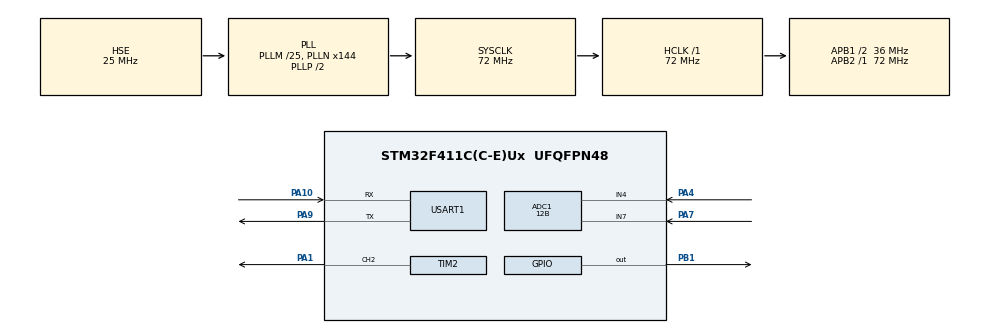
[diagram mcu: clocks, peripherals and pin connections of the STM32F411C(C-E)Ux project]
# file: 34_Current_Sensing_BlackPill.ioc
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ADC1.Channel-0\#ChannelRegularConversion=ADC_CHANNEL_7
ADC1.Channel-2\#ChannelInjectedConversion=ADC_CHANNEL_4
ADC1.ContinuousConvMode=ENABLE
ADC1.ExternalTrigInjecConv=ADC_EXTERNALTRIGINJECCONV_T2_TRGO
ADC1.InjNumberOfConversion=1
ADC1.InjectedConvMode=Discontinuous
ADC1.InjectedOffset-2\#ChannelInjectedConversion=0
ADC1.InjectedRank-2\#ChannelInjectedConversion=1
ADC1.NbrOfConversionFlag=1
ADC1.Rank-0\#ChannelRegularConversion=1
ADC1.Resolution=ADC_RESOLUTION_12B
ADC1.SamplingTime-0\#ChannelRegularConversion=ADC_SAMPLETIME_3CYCLES
ADC1.SamplingTime-2\#ChannelInjectedConversion=ADC_SAMPLETIME_3CYCLES
ADC1.master=1
Mcu.Family=STM32F4
Mcu.Name=STM32F411C(C-E)Ux
Mcu.Package=UFQFPN48
NVIC.ADC_IRQn=true\:0\:0\:false\:false\:true\:true\:true\:true
NVIC.PriorityGroup=NVIC_PRIORITYGROUP_4
PA1.Signal=S_TIM2_CH2
PA10.Mode=Asynchronous
PA10.Signal=USART1_RX
PA4.Signal=ADCx_IN4
PA7.Signal=ADCx_IN7
PA9.Mode=Asynchronous
PA9.Signal=USART1_TX
PB1.Signal=GPIO_Output
PH0\ -\ OSC_IN.Mode=HSE-External-Oscillator
PH0\ -\ OSC_IN.Signal=RCC_OSC_IN
PH1\ -\ OSC_OUT.Mode=HSE-External-Oscillator
PH1\ -\ OSC_OUT.Signal=RCC_OSC_OUT
ProjectManager.HeapSize=0x200
ProjectManager.StackSize=0x400
ProjectManager.TargetToolchain=STM32CubeIDE
RCC.48MHZClocksFreq_Value=36000000
RCC.AHBFreq_Value=72000000
RCC.APB1CLKDivider=RCC_HCLK_DIV2
RCC.APB1Freq_Value=36000000
RCC.APB1TimFreq_Value=72000000
RCC.APB2Freq_Value=72000000
RCC.APB2TimFreq_Value=72000000
RCC.CortexFreq_Value=72000000
RCC.HCLKFreq_Value=72000000
RCC.HSE_VALUE=25000000
RCC.HSI_VALUE=16000000
RCC.LSE_VALUE=32768
RCC.PLLM=25
RCC.PLLN=144
RCC.PLLSourceVirtual=RCC_PLLSOURCE_HSE
RCC.SYSCLKFreq_VALUE=72000000
RCC.SYSCLKSource=RCC_SYSCLKSOURCE_PLLCLK
RCC.VCOOutputFreq_Value=144000000
SH.ADCx_IN4.0=ADC1_IN4,IN4
SH.ADCx_IN7.0=ADC1_IN7,IN7
SH.S_TIM2_CH2.0=TIM2_CH2,PWM Generation2 CH2
TIM2.Channel-Output\ Compare1\ No\ Output=TIM_CHANNEL_1
TIM2.Channel-PWM\ Generation2\ CH2=TIM_CHANNEL_2
TIM2.CounterMode=TIM_COUNTERMODE_CENTERALIGNED1
TIM2.Period=4095
TIM2.TIM_MasterOutputTrigger=TIM_TRGO_OC1
USART1.VirtualMode=VM_ASYNC
VP_TIM2_VS_no_output1.Mode=Output Compare1 No Output
board=custom

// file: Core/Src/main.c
/* USER CODE BEGIN Header */
/**
  ******************************************************************************
  * @file           : main.c
  * @brief          : Main program body
  ******************************************************************************
  * @attention
  *
  * Copyright (c) 2025 STMicroelectronics.
  * All rights reserved.
  *
  * This software is licensed under terms that can be found in the LICENSE file
  * in the root directory of this software component.
  * If no LICENSE file comes with this software, it is provided AS-IS.
  *
  ******************************************************************************
  */
/* USER CODE END Header */
#include "main.h"

/* USER CODE BEGIN Includes */

#include <stdio.h>

/* USER CODE END Includes */

ADC_HandleTypeDef hadc1;

TIM_HandleTypeDef htim2;

UART_HandleTypeDef huart1;

/* USER CODE BEGIN PV */

char UART1_TxBuffer[30];
volatile uint16_t InjADC_Reading = 0;
uint16_t AD_RES = 0;
float I_dc = 0.0;

/* USER CODE END PV */

void SystemClock_Config(void);
static void MX_GPIO_Init(void);
static void MX_ADC1_Init(void);
static void MX_USART1_UART_Init(void);
static void MX_TIM2_Init(void);

int main(void)
{

  /* MCU Configuration--------------------------------------------------------*/

  /* Reset of all peripherals, Initializes the Flash interface and the Systick. */
  HAL_Init();

  /* Configure the system clock */
  SystemClock_Config();

  /* Initialize all configured peripherals */
  MX_GPIO_Init();
  MX_ADC1_Init();
  MX_USART1_UART_Init();
  MX_TIM2_Init();
  /* USER CODE BEGIN 2 */

	HAL_TIM_PWM_Start(&htim2, TIM_CHANNEL_2); // Start PWM: TIM2 (CH2)
	HAL_TIM_OC_Start(&htim2, TIM_CHANNEL_1);  // Start Output Compare (CH1)
	TIM2->CCR1 = 1; // Set The OC1 Trigger Point To The Middle of The PWM Waveform
	HAL_ADC_Start(&hadc1); // Start ADC Conversion (Regular Channel, Continuous Mode, Polling)
	HAL_ADCEx_InjectedStart_IT(&hadc1); // Start ADC Conversion (Injected Channel, Tim2-PWM-Triggered, Interrupt Mode)

  /* USER CODE END 2 */

  /* Infinite loop */
  /* USER CODE BEGIN WHILE */
  while (1)
  {
		HAL_ADC_PollForConversion(&hadc1, 1); // Poll ADC1 Peripheral & TimeOut = 1mSec
		AD_RES = HAL_ADC_GetValue(&hadc1); // Read The ADC Regular Channel (CH7)
		TIM2->CCR2 = AD_RES; // Update PWM DutyCycle Using ADC Value (Potentiometer On CH7)
		I_dc = ((InjADC_Reading*3.30)/4.095); // Convert The Injected ADC Channel Reading To I_dc
		sprintf(UART1_TxBuffer, "I_dc = %f mA\r\n", I_dc); // Print The Current Measurement To Serial Port
		HAL_UART_Transmit(&huart1, (uint8_t*)UART1_TxBuffer, sizeof(UART1_TxBuffer), 10);
		HAL_Delay(1);

    /* USER CODE END WHILE */

  }
}

void SystemClock_Config(void)
{
  RCC_OscInitTypeDef RCC_OscInitStruct = {0};
  RCC_ClkInitTypeDef RCC_ClkInitStruct = {0};

  /** Configure the main internal regulator output voltage
  */
  __HAL_RCC_PWR_CLK_ENABLE();
  __HAL_PWR_VOLTAGESCALING_CONFIG(PWR_REGULATOR_VOLTAGE_SCALE1);

  /** Initializes the RCC Oscillators according to the specified parameters
  * in the RCC_OscInitTypeDef structure.
  */
  RCC_OscInitStruct.OscillatorType = RCC_OSCILLATORTYPE_HSE;
  RCC_OscInitStruct.HSEState = RCC_HSE_ON;
  RCC_OscInitStruct.PLL.PLLState = RCC_PLL_ON;
  RCC_OscInitStruct.PLL.PLLSource = RCC_PLLSOURCE_HSE;
  RCC_OscInitStruct.PLL.PLLM = 25;
  RCC_OscInitStruct.PLL.PLLN = 144;
  RCC_OscInitStruct.PLL.PLLP = RCC_PLLP_DIV2;
  RCC_OscInitStruct.PLL.PLLQ = 4;
  if (HAL_RCC_OscConfig(&RCC_OscInitStruct) != HAL_OK)
  {
    Error_Handler();
  }

  /** Initializes the CPU, AHB and APB buses clocks
  */
  RCC_ClkInitStruct.ClockType = RCC_CLOCKTYPE_HCLK|RCC_CLOCKTYPE_SYSCLK
                              |RCC_CLOCKTYPE_PCLK1|RCC_CLOCKTYPE_PCLK2;
  RCC_ClkInitStruct.SYSCLKSource = RCC_SYSCLKSOURCE_PLLCLK;
  RCC_ClkInitStruct.AHBCLKDivider = RCC_SYSCLK_DIV1;
  RCC_ClkInitStruct.APB1CLKDivider = RCC_HCLK_DIV2;
  RCC_ClkInitStruct.APB2CLKDivider = RCC_HCLK_DIV1;

  if (HAL_RCC_ClockConfig(&RCC_ClkInitStruct, FLASH_LATENCY_2) != HAL_OK)
  {
    Error_Handler();
  }
}

static void MX_ADC1_Init(void)
{

  ADC_ChannelConfTypeDef sConfig = {0};
  ADC_InjectionConfTypeDef sConfigInjected = {0};

  /** Configure the global features of the ADC (Clock, Resolution, Data Alignment and number of conversion)
  */
  hadc1.Instance = ADC1;
  hadc1.Init.ClockPrescaler = ADC_CLOCK_SYNC_PCLK_DIV2;
  hadc1.Init.Resolution = ADC_RESOLUTION_12B;
  hadc1.Init.ScanConvMode = DISABLE;
  hadc1.Init.ContinuousConvMode = ENABLE;
  hadc1.Init.DiscontinuousConvMode = DISABLE;
  hadc1.Init.ExternalTrigConvEdge = ADC_EXTERNALTRIGCONVEDGE_NONE;
  hadc1.Init.ExternalTrigConv = ADC_SOFTWARE_START;
  hadc1.Init.DataAlign = ADC_DATAALIGN_RIGHT;
  hadc1.Init.NbrOfConversion = 1;
  hadc1.Init.DMAContinuousRequests = DISABLE;
  hadc1.Init.EOCSelection = ADC_EOC_SINGLE_CONV;
  if (HAL_ADC_Init(&hadc1) != HAL_OK)
  {
    Error_Handler();
  }

  /** Configure for the selected ADC regular channel its corresponding rank in the sequencer and its sample time.
  */
  sConfig.Channel = ADC_CHANNEL_7;
  sConfig.Rank = 1;
  sConfig.SamplingTime = ADC_SAMPLETIME_3CYCLES;
  if (HAL_ADC_ConfigChannel(&hadc1, &sConfig) != HAL_OK)
  {
    Error_Handler();
  }

  /** Configures for the selected ADC injected channel its corresponding rank in the sequencer and its sample time
  */
  sConfigInjected.InjectedChannel = ADC_CHANNEL_4;
  sConfigInjected.InjectedRank = 1;
  sConfigInjected.InjectedNbrOfConversion = 1;
  sConfigInjected.InjectedSamplingTime = ADC_SAMPLETIME_3CYCLES;
  sConfigInjected.ExternalTrigInjecConvEdge = ADC_EXTERNALTRIGINJECCONVEDGE_RISING;
  sConfigInjected.ExternalTrigInjecConv = ADC_EXTERNALTRIGINJECCONV_T2_TRGO;
  sConfigInjected.AutoInjectedConv = DISABLE;
  sConfigInjected.InjectedDiscontinuousConvMode = ENABLE;
  sConfigInjected.InjectedOffset = 0;
  if (HAL_ADCEx_InjectedConfigChannel(&hadc1, &sConfigInjected) != HAL_OK)
  {
    Error_Handler();
  }

}

static void MX_TIM2_Init(void)
{

  TIM_MasterConfigTypeDef sMasterConfig = {0};
  TIM_OC_InitTypeDef sConfigOC = {0};

  htim2.Instance = TIM2;
  htim2.Init.Prescaler = 0;
  htim2.Init.CounterMode = TIM_COUNTERMODE_CENTERALIGNED1;
  htim2.Init.Period = 4095;
  htim2.Init.ClockDivision = TIM_CLOCKDIVISION_DIV1;
  htim2.Init.AutoReloadPreload = TIM_AUTORELOAD_PRELOAD_DISABLE;
  if (HAL_TIM_OC_Init(&htim2) != HAL_OK)
  {
    Error_Handler();
  }
  if (HAL_TIM_PWM_Init(&htim2) != HAL_OK)
  {
    Error_Handler();
  }
  sMasterConfig.MasterOutputTrigger = TIM_TRGO_OC1;
  sMasterConfig.MasterSlaveMode = TIM_MASTERSLAVEMODE_DISABLE;
  if (HAL_TIMEx_MasterConfigSynchronization(&htim2, &sMasterConfig) != HAL_OK)
  {
    Error_Handler();
  }
  sConfigOC.OCMode = TIM_OCMODE_TIMING;
  sConfigOC.Pulse = 0;
  sConfigOC.OCPolarity = TIM_OCPOLARITY_HIGH;
  sConfigOC.OCFastMode = TIM_OCFAST_DISABLE;
  if (HAL_TIM_OC_ConfigChannel(&htim2, &sConfigOC, TIM_CHANNEL_1) != HAL_OK)
  {
    Error_Handler();
  }
  sConfigOC.OCMode = TIM_OCMODE_PWM1;
  if (HAL_TIM_PWM_ConfigChannel(&htim2, &sConfigOC, TIM_CHANNEL_2) != HAL_OK)
  {
    Error_Handler();
  }
  HAL_TIM_MspPostInit(&htim2);

}

static void MX_USART1_UART_Init(void)
{

  huart1.Instance = USART1;
  huart1.Init.BaudRate = 115200;
  huart1.Init.WordLength = UART_WORDLENGTH_8B;
  huart1.Init.StopBits = UART_STOPBITS_1;
  huart1.Init.Parity = UART_PARITY_NONE;
  huart1.Init.Mode = UART_MODE_TX_RX;
  huart1.Init.HwFlowCtl = UART_HWCONTROL_NONE;
  huart1.Init.OverSampling = UART_OVERSAMPLING_16;
  if (HAL_UART_Init(&huart1) != HAL_OK)
  {
    Error_Handler();
  }

}

static void MX_GPIO_Init(void)
{
  GPIO_InitTypeDef GPIO_InitStruct = {0};

  /* GPIO Ports Clock Enable */
  __HAL_RCC_GPIOH_CLK_ENABLE();
  __HAL_RCC_GPIOA_CLK_ENABLE();
  __HAL_RCC_GPIOB_CLK_ENABLE();

  /*Configure GPIO pin Output Level */
  HAL_GPIO_WritePin(GPIOB, GPIO_PIN_1, GPIO_PIN_RESET);

  /*Configure GPIO pin : PB1 */
  GPIO_InitStruct.Pin = GPIO_PIN_1;
  GPIO_InitStruct.Mode = GPIO_MODE_OUTPUT_PP;
  GPIO_InitStruct.Pull = GPIO_NOPULL;
  GPIO_InitStruct.Speed = GPIO_SPEED_FREQ_LOW;
  HAL_GPIO_Init(GPIOB, &GPIO_InitStruct);

}

/* USER CODE BEGIN 4 */

void HAL_ADCEx_InjectedConvCpltCallback(ADC_HandleTypeDef* hadc)
{
    HAL_GPIO_WritePin(GPIOB, GPIO_PIN_1, GPIO_PIN_SET); // Toggle This Pin To Check The ADC Trigger Time On DSO
    InjADC_Reading = HAL_ADCEx_InjectedGetValue(&hadc1, ADC_INJECTED_RANK_1); // Read The Injected Channel Result
    HAL_GPIO_WritePin(GPIOB, GPIO_PIN_1, GPIO_PIN_RESET);
}

/* USER CODE END 4 */

void Error_Handler(void)
{
  __disable_irq();
  while (1)
  {
  }
}
